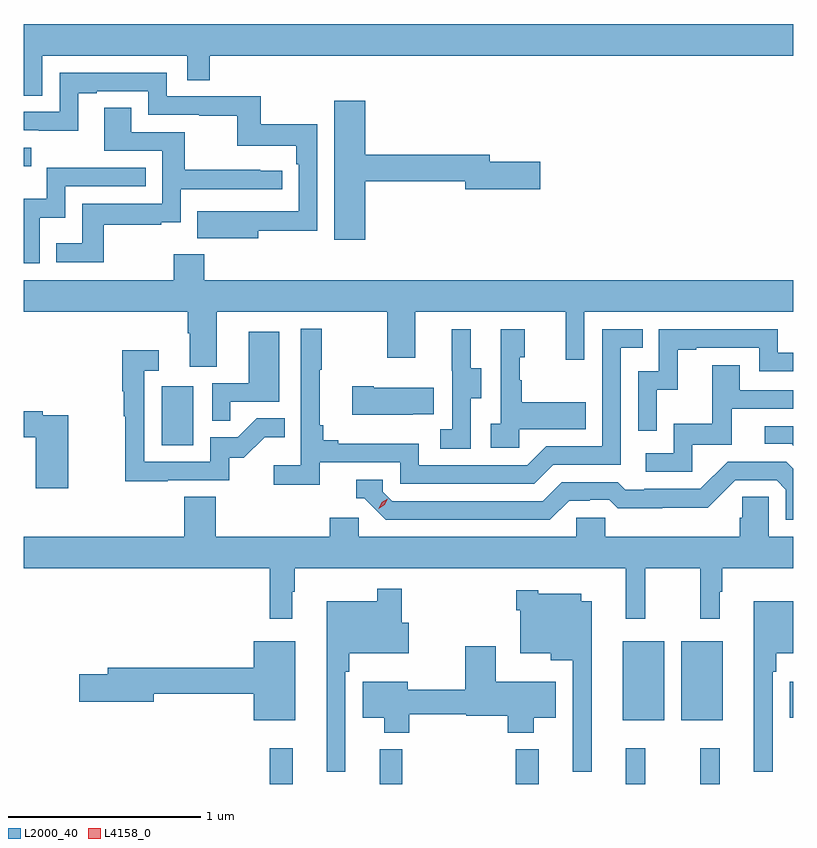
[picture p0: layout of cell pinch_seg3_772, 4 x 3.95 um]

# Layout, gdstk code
import gdstk
lib = gdstk.Library(unit=1e-6, precision=1e-09)
def R(c, l, rs):  # rectangles x0, y0, x1, y1
    for r in rs: c.add(gdstk.rectangle(r[:2], r[2:], *l))
def P(c, l, *ps):  # polygons
    for p in ps: c.add(gdstk.Polygon(p, *l))
L2000_40 = (2000, 40)
L4158_0 = (4158, 0)

pinch_seg3_772 = lib.new_cell('pinch_seg3_772')
R(pinch_seg3_772, L2000_40, [(818.119,737.091,818.237,737.278), (818.69,737.091,818.807,737.272), (819.397,737.091,819.515,737.272), (819.968,737.091,820.07,737.278), (820.354,737.091,820.457,737.278), (819.953,737.423,820.168,737.833), (820.256,737.423,820.471,737.833), (820.82,737.435,820.839,737.623), (817.556,738.852,817.72,739.159), (816.839,740.3,816.88,740.397)])
P(pinch_seg3_772, L2000_40, [(816.937,740.876),(817.689,740.876),(817.689,740.749),(817.805,740.749),(817.805,740.876),(820.839,740.876),(820.839,741.04),(816.839,741.04),(816.839,740.668),(816.937,740.668)],
  [(818.059,739.966),(818.364,739.966),(818.364,740.518),(818.071,740.518),(818.071,740.664),(817.584,740.664),(817.584,740.787),(817.026,740.787),(817.026,740.583),(816.839,740.583),(816.839,740.487),(816.918,740.487),(816.918,740.486),(817.123,740.486),(817.123,740.679),(817.219,740.679),(817.219,740.691),(817.488,740.691),(817.488,740.568),(817.753,740.568),(817.753,740.563),(817.95,740.563),(817.95,740.408),(818.255,740.408),(818.255,740.312),(818.268,740.312),(818.268,740.067),(817.955,740.067),(817.955,740.068),(817.741,740.068),(817.741,739.928),(818.059,739.928)],
  [(818.614,740.224),(819.134,740.224),(819.134,740.182),(819.523,740.182),(819.523,740.324),(819.262,740.324),(819.262,740.36),(818.614,740.36),(818.614,740.641),(818.453,740.641),(818.453,739.92),(818.614,739.92)],
  [(817.255,739.998),(817.553,739.998),(817.553,740.009),(817.656,740.009),(817.656,740.181),(818.182,740.181),(818.182,740.277),(818.069,740.277),(818.069,740.282),(817.676,740.282),(817.676,740.478),(817.399,740.478),(817.399,740.606),(817.259,740.606),(817.259,740.382),(817.56,740.382),(817.56,740.106),(817.144,740.106),(817.144,739.9),(817.009,739.9),(817.009,739.803),(817.255,739.803)],
  [(816.924,740.033),(817.056,740.033),(817.056,740.196),(817.475,740.196),(817.475,740.292),(816.96,740.292),(816.96,740.131),(816.839,740.131),(816.839,739.797),(816.924,739.797)],
  [(817.843,739.544),(818.728,739.544),(818.728,739.305),(818.875,739.305),(818.875,739.544),(819.656,739.544),(819.656,739.296),(819.753,739.296),(819.753,739.544),(820.839,739.544),(820.839,739.708),(817.778,739.708),(817.778,739.843),(817.618,739.843),(817.618,739.708),(816.839,739.708),(816.839,739.544),(817.691,739.544),(817.691,739.432),(817.703,739.432),(817.703,739.258),(817.843,739.258)],
  [(818.378,738.762),(818.796,738.762),(818.796,738.651),(819.493,738.651),(819.592,738.75),(819.942,738.75),(819.942,739.359),(820.055,739.359),(820.055,739.455),(819.846,739.455),(819.846,738.846),(819.555,738.846),(819.456,738.747),(818.892,738.747),(818.892,738.859),(818.473,738.859),(818.473,738.878),(818.396,738.878),(818.396,738.955),(818.377,738.955),(818.377,739.243),(818.389,739.243),(818.389,739.456),(818.28,739.456),(818.28,738.748),(818.139,738.748),(818.139,738.646),(818.378,738.646)],
  [(820.128,739.139),(820.238,739.139),(820.238,739.347),(820.333,739.347),(820.333,739.359),(820.662,739.359),(820.662,739.236),(820.839,739.236),(820.839,739.332),(820.758,739.332),(820.758,739.455),(820.14,739.455),(820.14,739.236),(820.032,739.236),(820.032,738.927),(820.128,738.927)],
  [(819.162,739.096),(819.217,739.096),(819.217,739.251),(819.163,739.251),(819.163,739.453),(819.065,739.453),(819.065,739.239),(819.066,739.239),(819.066,738.935),(819.003,738.935),(819.003,738.832),(819.162,738.832)],
  [(819.414,738.935),(819.761,738.935),(819.761,739.075),(819.427,739.075),(819.427,739.19),(819.417,739.19),(819.417,739.308),(819.442,739.308),(819.442,739.453),(819.318,739.453),(819.318,738.962),(819.267,738.962),(819.267,738.837),(819.414,738.837)],
  [(817.913,739.077),(818.167,739.077),(818.167,739.441),(818.009,739.441),(818.009,739.173),(817.818,739.173),(817.818,738.979),(817.913,738.979)],
  [(817.589,738.669),(817.908,738.669),(817.908,738.786),(817.984,738.786),(818.091,738.893),(818.195,738.893),(818.195,738.992),(818.051,738.992),(817.953,738.894),(817.809,738.894),(817.809,738.765),(817.467,738.765),(817.467,739.239),(817.54,739.239),(817.54,739.345),(817.351,739.345),(817.351,739.132),(817.359,739.132),(817.359,739.002),(817.366,739.002),(817.366,738.664),(817.589,738.664)],
  [(820.314,738.855),(820.519,738.855),(820.519,739.041),(820.839,739.041),(820.839,739.137),(820.561,739.137),(820.561,739.267),(820.417,739.267),(820.417,738.964),(820.218,738.964),(820.218,738.81),(820.071,738.81),(820.071,738.714),(820.314,738.714)],
  [(818.861,739.013),(818.969,739.013),(818.969,739.15),(818.659,739.15),(818.659,739.158),(818.547,739.158),(818.547,739.01),(818.861,739.01)],
  [(817.072,739.008),(816.938,739.008),(816.938,739.028),(816.839,739.028),(816.839,738.892),(816.902,738.892),(816.902,738.627),(817.072,738.627)],
  [(820.839,738.951),(820.689,738.951),(820.689,738.858),(820.83,738.858),(820.839,738.849)],
  [(819.673,738.564),(819.78,738.564),(819.78,738.567),(819.883,738.567),(819.925,738.525),(820.158,738.525),(820.158,738.527),(820.394,738.527),(820.536,738.669),(820.752,738.669),(820.8,738.621),(820.8,738.465),(820.839,738.465),(820.839,738.729),(820.803,738.765),(820.497,738.765),(820.356,738.624),(820.063,738.624),(820.063,738.621),(819.964,738.621),(819.925,738.66),(819.636,738.66),(819.537,738.561),(818.754,738.561),(818.706,738.609),(818.706,738.672),(818.567,738.672),(818.567,738.576),(818.61,738.576),(818.721,738.465),(819.574,738.465)],
  [(818.236,738.089),(818.248,738.089),(818.248,738.212),(819.967,738.212),(819.967,737.949),(820.07,737.949),(820.07,738.212),(820.354,738.212),(820.354,737.949),(820.456,737.949),(820.456,738.089),(820.468,738.089),(820.468,738.212),(820.839,738.212),(820.839,738.376),(820.71,738.376),(820.71,738.584),(820.573,738.584),(820.573,738.474),(820.559,738.474),(820.559,738.376),(819.861,738.376),(819.861,738.474),(819.711,738.474),(819.711,738.376),(818.58,738.376),(818.58,738.474),(818.429,738.474),(818.429,738.376),(817.838,738.376),(817.838,738.584),(817.673,738.584),(817.673,738.376),(816.839,738.376),(816.839,738.212),(818.119,738.212),(818.119,737.949),(818.236,737.949)],
  [(818.511,737.675),(818.531,737.675),(818.531,737.771),(818.839,737.771),(818.839,737.929),(818.804,737.929),(818.804,738.106),(818.676,738.106),(818.676,738.04),(818.414,738.04),(818.414,737.154),(818.511,737.154)],
  [(819.79,738.04),(819.736,738.04),(819.736,738.079),(819.513,738.079),(819.513,738.097),(819.398,738.097),(819.398,737.993),(819.419,737.993),(819.419,737.771),(819.578,737.771),(819.578,737.735),(819.693,737.735),(819.693,737.154),(819.79,737.154)],
  [(820.731,737.675),(820.751,737.675),(820.751,737.771),(820.839,737.771),(820.839,738.04),(820.634,738.04),(820.634,737.154),(820.731,737.154)],
  [(818.251,737.833),(818.036,737.833),(818.036,737.696),(817.277,737.696),(817.277,737.66),(817.128,737.66),(817.128,737.518),(817.516,737.518),(817.516,737.56),(818.036,737.56),(818.036,737.423),(818.251,737.423)],
  [(818.844,737.454),(819.138,737.454),(819.138,737.446),(819.356,737.446),(819.356,737.357),(819.49,737.357),(819.49,737.435),(819.604,737.435),(819.604,737.623),(819.292,737.623),(819.292,737.806),(819.134,737.806),(819.134,737.582),(818.836,737.582),(818.836,737.623),(818.6,737.623),(818.6,737.435),(818.714,737.435),(818.714,737.357),(818.844,737.357)])
P(pinch_seg3_772, L4158_0, [(818.684,738.521),(818.684,738.521),(818.7,738.554),(818.731,738.574),(818.731,738.574),(818.731,738.574),(818.715,738.541),(818.685,738.521)])

lib.write_gds('pinch_seg3_772.gds')
